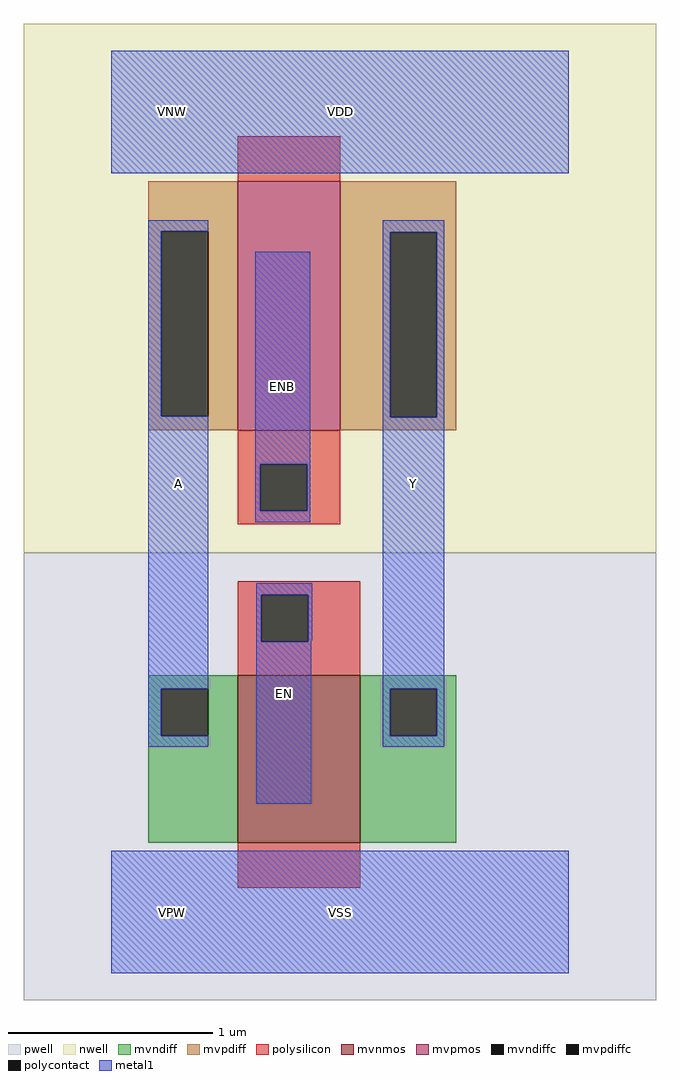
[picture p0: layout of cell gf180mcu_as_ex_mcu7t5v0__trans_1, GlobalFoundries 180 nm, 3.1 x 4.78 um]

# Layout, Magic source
magic
tech gf180mcuD
magscale 1 10
<< nwell >>
rect -86 352 534 870
<< pwell >>
rect -86 -86 534 352
<< mvnmos >>
rect 124 68 244 232
<< mvpmos >>
rect 124 472 224 716
<< mvndiff >>
rect 36 219 124 232
rect 36 173 49 219
rect 95 173 124 219
rect 36 68 124 173
rect 244 219 338 232
rect 244 173 273 219
rect 319 173 338 219
rect 244 68 338 173
<< mvpdiff >>
rect 36 667 124 716
rect 36 486 49 667
rect 95 486 124 667
rect 36 472 124 486
rect 224 666 338 716
rect 224 485 273 666
rect 319 485 338 666
rect 224 472 338 485
<< mvndiffc >>
rect 49 173 95 219
rect 273 173 319 219
<< mvpdiffc >>
rect 49 486 95 667
rect 273 485 319 666
<< polysilicon >>
rect 124 716 224 760
rect 124 439 224 472
rect 124 393 146 439
rect 192 393 224 439
rect 124 380 224 393
rect 124 311 244 324
rect 124 265 147 311
rect 193 265 244 311
rect 124 232 244 265
rect 124 24 244 68
<< polycontact >>
rect 146 393 192 439
rect 147 265 193 311
<< metal1 >>
rect 0 724 448 844
rect 36 667 95 678
rect 36 486 49 667
rect 266 666 326 678
rect 36 219 95 486
rect 141 439 195 647
rect 141 393 146 439
rect 192 393 195 439
rect 141 382 195 393
rect 266 485 273 666
rect 319 485 326 666
rect 36 173 49 219
rect 36 162 95 173
rect 142 311 197 322
rect 142 265 147 311
rect 193 266 197 311
rect 193 265 196 266
rect 142 106 196 265
rect 266 219 326 485
rect 266 173 273 219
rect 319 173 326 219
rect 266 162 326 173
rect 0 -60 448 60
<< labels >>
flabel metal1 s 0 724 448 844 0 FreeSans 400 0 0 0 VDD
port 3 nsew power bidirectional abutment
flabel nwell s 10 734 110 834 0 FreeSans 400 0 0 0 VNW
port 4 nsew power bidirectional
flabel pwell s 10 -50 110 50 0 FreeSans 400 0 0 0 VPW
port 5 nsew ground bidirectional
flabel metal1 s 0 -60 448 60 0 FreeSans 400 0 0 0 VSS
port 6 nsew ground bidirectional abutment
flabel metal1 266 162 326 678 0 FreeSans 200 0 0 0 Y
port 1 nsew signal output
flabel metal1 36 162 95 678 0 FreeSans 200 0 0 0 A
port 2 nsew signal input
flabel metal1 141 382 195 647 0 FreeSans 200 0 0 0 ENB
port 7 nsew signal input
flabel metal1 142 106 197 322 0 FreeSans 200 0 0 0 EN
port 8 nsew signal input
<< properties >>
string FIXED_BBOX 0 0 448 784
string LEFclass core
string LEFsite GF018hv5v_mcu_sc7
string LEFsymmetry X Y
string MASKHINTS_NPLUS -16 -46 464 352
string MASKHINTS_PPLUS -16 352 464 830
<< end >>
